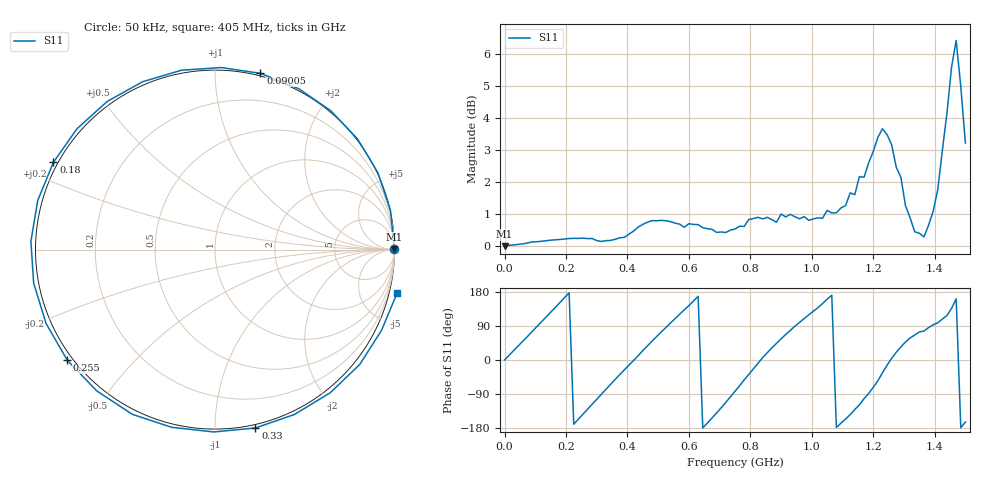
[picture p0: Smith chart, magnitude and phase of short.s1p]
! Created with skrf 1.8.0 (http://scikit-rf.org).
# Hz S RI R 50.0
!freq ReS11 ImS11
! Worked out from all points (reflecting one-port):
!   101 points, 50 kHz to 1.5 GHz, reference 50 ohm
!   lowest |S11| = 0.0 dB at 50 kHz (marker M1)
!   phase of S11 starts at 0 deg and turns +1276 deg over the sweep
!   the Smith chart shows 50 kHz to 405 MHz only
!   S11 on the Smith chart (normalised r, x): 50 kHz: open; 90.05 MHz: -0.02, +1.29; 180 MHz: -0.01, +0.25; 255 MHz: -0.02, -0.33; 330 MHz: -0.02, -1.25; 405 MHz: -1.53, -8.30
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50000  0.9989 0.000712
9.0047e7  0.2533 0.982
1.80044e8  -0.9 0.4868
1.950435e8  -0.9875 0.2743
2.550415e8  -0.8228 -0.6165
3.30039e8  0.2251 -0.9937
3.750375e8  0.8068 -0.6396
4.050365e8  1.015 -0.24
4.50035e8  0.9797 0.4557
4.950335e8  0.5151 0.9655
5.70031e8  -0.5567 0.9268
6.60028e8  -1.034 -0.2491
7.50025e8  0.1372 -1.054
7.950235e8  0.866 -0.6777
8.40022e8  1.096 0.1162
9.0002e8  0.6288 0.9283
9.450185e8  0.0166 1.11
1.050015e9  -1.07 0.3807
1.125012e9  -0.9798 -0.71
1.20001e9  0.4321 -1.336
1.245008e9  1.45 -0.3506
1.290007e9  1.054 0.7262
1.320006e9  0.5828 0.9406
1.410003e9  -0.1737 1.211
1.440002e9  -0.7489 1.428
1.455002e9  -1.371 1.319
1.470001e9  -1.985 0.6662
1.5e9  -1.389 -0.4082
